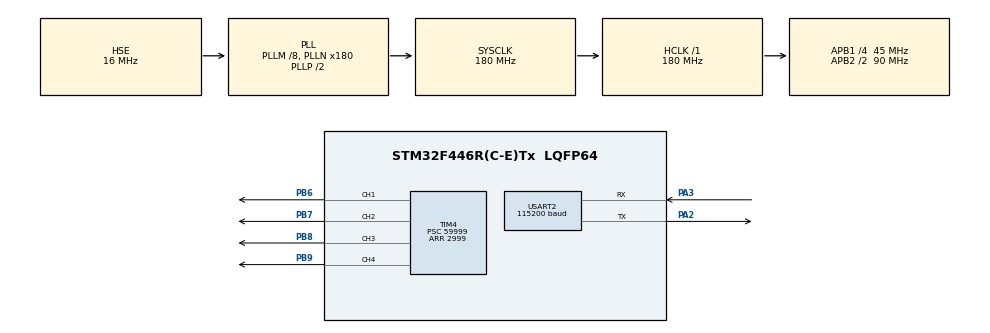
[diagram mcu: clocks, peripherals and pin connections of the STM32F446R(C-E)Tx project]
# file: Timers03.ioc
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Mcu.Family=STM32F4
Mcu.Name=STM32F446R(C-E)Tx
Mcu.Package=LQFP64
NVIC.PriorityGroup=NVIC_PRIORITYGROUP_4
PA13.Mode=Serial_Wire
PA13.Signal=SYS_JTMS-SWDIO
PA14.Mode=Serial_Wire
PA14.Signal=SYS_JTCK-SWCLK
PA2.Mode=Asynchronous
PA2.Signal=USART2_TX
PA3.Mode=Asynchronous
PA3.Signal=USART2_RX
PB6.Signal=S_TIM4_CH1
PB7.Signal=S_TIM4_CH2
PB8.Signal=S_TIM4_CH3
PB9.Signal=S_TIM4_CH4
PH0-OSC_IN.Mode=HSE-External-Oscillator
PH0-OSC_IN.Signal=RCC_OSC_IN
PH1-OSC_OUT.Mode=HSE-External-Oscillator
PH1-OSC_OUT.Signal=RCC_OSC_OUT
ProjectManager.HeapSize=0x200
ProjectManager.StackSize=0x400
ProjectManager.TargetToolchain=STM32CubeIDE
RCC.AHBFreq_Value=180000000
RCC.APB1CLKDivider=RCC_HCLK_DIV4
RCC.APB1Freq_Value=45000000
RCC.APB1TimFreq_Value=90000000
RCC.APB2CLKDivider=RCC_HCLK_DIV2
RCC.APB2Freq_Value=90000000
RCC.APB2TimFreq_Value=180000000
RCC.CortexFreq_Value=180000000
RCC.HCLKFreq_Value=180000000
RCC.HSE_VALUE=16000000
RCC.PLLM=8
RCC.PLLN=180
RCC.PLLSourceVirtual=RCC_PLLSOURCE_HSE
RCC.SYSCLKFreq_VALUE=180000000
RCC.SYSCLKSource=RCC_SYSCLKSOURCE_PLLCLK
RCC.USBFreq_Value=180000000
RCC.VCOOutputFreq_Value=360000000
SH.S_TIM4_CH1.0=TIM4_CH1,PWM Generation1 CH1
SH.S_TIM4_CH2.0=TIM4_CH2,PWM Generation2 CH2
SH.S_TIM4_CH3.0=TIM4_CH3,PWM Generation3 CH3
SH.S_TIM4_CH4.0=TIM4_CH4,PWM Generation4 CH4
TIM4.Channel-PWM\ Generation1\ CH1=TIM_CHANNEL_1
TIM4.Channel-PWM\ Generation2\ CH2=TIM_CHANNEL_2
TIM4.Channel-PWM\ Generation3\ CH3=TIM_CHANNEL_3
TIM4.Channel-PWM\ Generation4\ CH4=TIM_CHANNEL_4
TIM4.OCPolarity_1=TIM_OCPOLARITY_HIGH
TIM4.OCPolarity_2=TIM_OCPOLARITY_HIGH
TIM4.OCPolarity_3=TIM_OCPOLARITY_HIGH
TIM4.OCPolarity_4=TIM_OCPOLARITY_HIGH
TIM4.Period=2999
TIM4.Prescaler=59999
TIM4.Pulse-PWM\ Generation1\ CH1=2500
TIM4.Pulse-PWM\ Generation2\ CH2=2500
TIM4.Pulse-PWM\ Generation3\ CH3=2500
TIM4.Pulse-PWM\ Generation4\ CH4=2500
USART2.BaudRate=115200
USART2.VirtualMode=VM_ASYNC
board=custom

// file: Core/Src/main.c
/* USER CODE BEGIN Header */
/**
 ******************************************************************************
 * @file           : main.c
 * @brief          : Main program body
 ******************************************************************************
 * @attention
 *
 * Copyright (c) 2026 STMicroelectronics.
 * All rights reserved.
 *
 * This software is licensed under terms that can be found in the LICENSE file
 * in the root directory of this software component.
 * If no LICENSE file comes with this software, it is provided AS-IS.
 *
 ******************************************************************************
 */
/* USER CODE END Header */
#include "main.h"

/* USER CODE BEGIN Includes */
#include <stdlib.h>
#include <stdio.h>
/* USER CODE END Includes */

TIM_HandleTypeDef htim4;

UART_HandleTypeDef huart2;

void SystemClock_Config(void);
static void MX_GPIO_Init(void);
static void MX_TIM4_Init(void);
static void MX_USART2_UART_Init(void);

/* USER CODE BEGIN 0 */
// Send pringf to uart2
int _write(int file, char *ptr, int len)
{
	HAL_UART_Transmit(&huart2, (uint8_t*) ptr, len, HAL_MAX_DELAY);
	return len;
}
/* USER CODE END 0 */

int main(void)
{

	/* MCU Configuration--------------------------------------------------------*/

	/* Reset of all peripherals, Initializes the Flash interface and the Systick. */
	HAL_Init();

	/* Configure the system clock */
	SystemClock_Config();

	/* Initialize all configured peripherals */
	MX_GPIO_Init();
	MX_TIM4_Init();
	MX_USART2_UART_Init();
	/* USER CODE BEGIN 2 */
	printf("\r\n\r\n\r\nStarting Timers03-Edited...\r\n");

	// Start the timer
	HAL_TIM_PWM_Start(&htim4, TIM_CHANNEL_1);
	HAL_TIM_PWM_Start(&htim4, TIM_CHANNEL_2);
	HAL_TIM_PWM_Start(&htim4, TIM_CHANNEL_3);
	HAL_TIM_PWM_Start(&htim4, TIM_CHANNEL_4);

	// Set the Pulse length
	__HAL_TIM_SET_COMPARE(&htim4, TIM_CHANNEL_1, 500);
	__HAL_TIM_SET_COMPARE(&htim4, TIM_CHANNEL_2, 1000);
	__HAL_TIM_SET_COMPARE(&htim4, TIM_CHANNEL_3, 1500);
	__HAL_TIM_SET_COMPARE(&htim4, TIM_CHANNEL_4, 2000);

	/* USER CODE END 2 */

	/* Infinite loop */
	/* USER CODE BEGIN WHILE */
	uint32_t msSinceReset = 0;
	uint32_t nextTick = 0;
	uint32_t loopCount = 0;

	while (1)
	{
		msSinceReset = HAL_GetTick(); // number of milliseconds since power on or reset

		if (msSinceReset >= nextTick)
		{
			printf("Tick: %lu (Loop Count: %lu)\r\n", msSinceReset / 1000, loopCount);

			loopCount = 0;

			nextTick = msSinceReset + 1000;

		}

		loopCount++;

		/* USER CODE END WHILE */

	}
}

void SystemClock_Config(void)
{
	RCC_OscInitTypeDef RCC_OscInitStruct =
	{ 0 };
	RCC_ClkInitTypeDef RCC_ClkInitStruct =
	{ 0 };

	/** Configure the main internal regulator output voltage
	 */
	__HAL_RCC_PWR_CLK_ENABLE();
	__HAL_PWR_VOLTAGESCALING_CONFIG(PWR_REGULATOR_VOLTAGE_SCALE1);

	/** Initializes the RCC Oscillators according to the specified parameters
	 * in the RCC_OscInitTypeDef structure.
	 */
	RCC_OscInitStruct.OscillatorType = RCC_OSCILLATORTYPE_HSE;
	RCC_OscInitStruct.HSEState = RCC_HSE_ON;
	RCC_OscInitStruct.PLL.PLLState = RCC_PLL_ON;
	RCC_OscInitStruct.PLL.PLLSource = RCC_PLLSOURCE_HSE;
	RCC_OscInitStruct.PLL.PLLM = 8;
	RCC_OscInitStruct.PLL.PLLN = 180;
	RCC_OscInitStruct.PLL.PLLP = RCC_PLLP_DIV2;
	RCC_OscInitStruct.PLL.PLLQ = 2;
	RCC_OscInitStruct.PLL.PLLR = 2;
	if (HAL_RCC_OscConfig(&RCC_OscInitStruct) != HAL_OK)
	{
		Error_Handler();
	}

	/** Activate the Over-Drive mode
	 */
	if (HAL_PWREx_EnableOverDrive() != HAL_OK)
	{
		Error_Handler();
	}

	/** Initializes the CPU, AHB and APB buses clocks
	 */
	RCC_ClkInitStruct.ClockType = RCC_CLOCKTYPE_HCLK | RCC_CLOCKTYPE_SYSCLK
			| RCC_CLOCKTYPE_PCLK1 | RCC_CLOCKTYPE_PCLK2;
	RCC_ClkInitStruct.SYSCLKSource = RCC_SYSCLKSOURCE_PLLCLK;
	RCC_ClkInitStruct.AHBCLKDivider = RCC_SYSCLK_DIV1;
	RCC_ClkInitStruct.APB1CLKDivider = RCC_HCLK_DIV4;
	RCC_ClkInitStruct.APB2CLKDivider = RCC_HCLK_DIV2;

	if (HAL_RCC_ClockConfig(&RCC_ClkInitStruct, FLASH_LATENCY_5) != HAL_OK)
	{
		Error_Handler();
	}
}

static void MX_TIM4_Init(void)
{

	TIM_MasterConfigTypeDef sMasterConfig =
	{ 0 };
	TIM_OC_InitTypeDef sConfigOC =
	{ 0 };

	htim4.Instance = TIM4;
	htim4.Init.Prescaler = 59999;
	htim4.Init.CounterMode = TIM_COUNTERMODE_UP;
	htim4.Init.Period = 2999;
	htim4.Init.ClockDivision = TIM_CLOCKDIVISION_DIV1;
	htim4.Init.AutoReloadPreload = TIM_AUTORELOAD_PRELOAD_DISABLE;
	if (HAL_TIM_PWM_Init(&htim4) != HAL_OK)
	{
		Error_Handler();
	}
	sMasterConfig.MasterOutputTrigger = TIM_TRGO_RESET;
	sMasterConfig.MasterSlaveMode = TIM_MASTERSLAVEMODE_DISABLE;
	if (HAL_TIMEx_MasterConfigSynchronization(&htim4, &sMasterConfig) != HAL_OK)
	{
		Error_Handler();
	}
	sConfigOC.OCMode = TIM_OCMODE_PWM1;
	sConfigOC.Pulse = 2500;
	sConfigOC.OCPolarity = TIM_OCPOLARITY_HIGH;
	sConfigOC.OCFastMode = TIM_OCFAST_DISABLE;
	if (HAL_TIM_PWM_ConfigChannel(&htim4, &sConfigOC, TIM_CHANNEL_1) != HAL_OK)
	{
		Error_Handler();
	}
	if (HAL_TIM_PWM_ConfigChannel(&htim4, &sConfigOC, TIM_CHANNEL_2) != HAL_OK)
	{
		Error_Handler();
	}
	if (HAL_TIM_PWM_ConfigChannel(&htim4, &sConfigOC, TIM_CHANNEL_3) != HAL_OK)
	{
		Error_Handler();
	}
	if (HAL_TIM_PWM_ConfigChannel(&htim4, &sConfigOC, TIM_CHANNEL_4) != HAL_OK)
	{
		Error_Handler();
	}
	HAL_TIM_MspPostInit(&htim4);

}

static void MX_USART2_UART_Init(void)
{

	huart2.Instance = USART2;
	huart2.Init.BaudRate = 115200;
	huart2.Init.WordLength = UART_WORDLENGTH_8B;
	huart2.Init.StopBits = UART_STOPBITS_1;
	huart2.Init.Parity = UART_PARITY_NONE;
	huart2.Init.Mode = UART_MODE_TX_RX;
	huart2.Init.HwFlowCtl = UART_HWCONTROL_NONE;
	huart2.Init.OverSampling = UART_OVERSAMPLING_16;
	if (HAL_UART_Init(&huart2) != HAL_OK)
	{
		Error_Handler();
	}

}

static void MX_GPIO_Init(void)
{

	/* GPIO Ports Clock Enable */
	__HAL_RCC_GPIOH_CLK_ENABLE();
	__HAL_RCC_GPIOA_CLK_ENABLE();
	__HAL_RCC_GPIOB_CLK_ENABLE();

}

void Error_Handler(void)
{
	__disable_irq();
	while (1)
	{
	}
}
